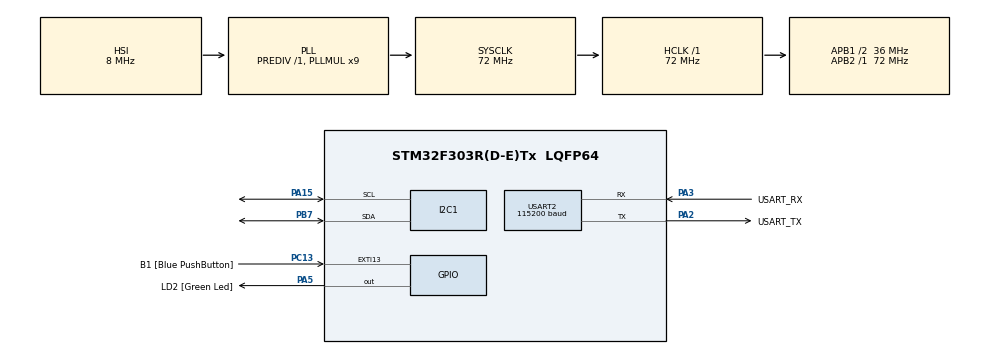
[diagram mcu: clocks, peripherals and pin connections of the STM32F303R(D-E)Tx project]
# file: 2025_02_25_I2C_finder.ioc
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I2C1.Timing=0x00201D2B
Mcu.Family=STM32F3
Mcu.Name=STM32F303R(D-E)Tx
Mcu.Package=LQFP64
NVIC.PriorityGroup=NVIC_PRIORITYGROUP_0
PA13.GPIO_Label=TMS
PA13.Mode=Serial_Wire
PA13.Signal=SYS_JTMS-SWDIO
PA14.GPIO_Label=TCK
PA14.Mode=Serial_Wire
PA14.Signal=SYS_JTCK-SWCLK
PA15.Mode=I2C
PA15.Signal=I2C1_SCL
PA2.GPIO_Label=USART_TX
PA2.GPIO_Mode=GPIO_MODE_AF_PP
PA2.GPIO_PuPd=GPIO_NOPULL
PA2.GPIO_Speed=GPIO_SPEED_FREQ_LOW
PA2.Mode=Asynchronous
PA2.Signal=USART2_TX
PA3.GPIO_Label=USART_RX
PA3.GPIO_Mode=GPIO_MODE_AF_PP
PA3.GPIO_PuPd=GPIO_NOPULL
PA3.GPIO_Speed=GPIO_SPEED_FREQ_LOW
PA3.Mode=Asynchronous
PA3.Signal=USART2_RX
PA5.GPIO_Label=LD2 [Green Led]
PA5.GPIO_Mode=GPIO_MODE_OUTPUT_PP
PA5.GPIO_PuPd=GPIO_NOPULL
PA5.GPIO_Speed=GPIO_SPEED_FREQ_LOW
PA5.Signal=GPIO_Output
PB3.GPIO_Label=SWO
PB3.Signal=SYS_JTDO-TRACESWO
PB7.Mode=I2C
PB7.Signal=I2C1_SDA
PC13.GPIO_Label=B1 [Blue PushButton]
PC13.GPIO_ModeDefaultEXTI=GPIO_MODE_IT_FALLING
PC13.GPIO_PuPd=GPIO_NOPULL
PC13.Signal=GPXTI13
PC14-OSC32_IN.Mode=LSE-External-Oscillator
PC14-OSC32_IN.Signal=RCC_OSC32_IN
PC15-OSC32_OUT.Mode=LSE-External-Oscillator
PC15-OSC32_OUT.Signal=RCC_OSC32_OUT
PF0-OSC_IN.Mode=HSE-External-Clock-Source
PF0-OSC_IN.Signal=RCC_OSC_IN
PF1-OSC_OUT.Signal=RCC_OSC_OUT
ProjectManager.HeapSize=0x200
ProjectManager.StackSize=0x400
ProjectManager.TargetToolchain=STM32CubeIDE
RCC.AHBFreq_Value=72000000
RCC.APB1CLKDivider=RCC_HCLK_DIV2
RCC.APB1Freq_Value=36000000
RCC.APB1TimFreq_Value=72000000
RCC.APB2Freq_Value=72000000
RCC.APB2TimFreq_Value=72000000
RCC.CortexFreq_Value=72000000
RCC.HCLKFreq_Value=72000000
RCC.HSE_VALUE=8000000
RCC.HSI_VALUE=8000000
RCC.PLLM=8
RCC.PLLMUL=RCC_PLL_MUL9
RCC.PLLN=336
RCC.PLLP=RCC_PLLP_DIV4
RCC.PLLQ=7
RCC.RCC_PLLsource_Clock_Source_FROM_HSE=RCC_HSE_PREDIV_DIV2
RCC.SYSCLKFreq_VALUE=72000000
RCC.SYSCLKSourceVirtual=RCC_SYSCLKSOURCE_PLLCLK
RCC.USBFreq_Value=72000000
USART2.BaudRate=115200
USART2.VirtualMode-Asynchronous=VM_ASYNC
board=NUCLEO-F303RE

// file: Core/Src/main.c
/* USER CODE BEGIN Header */
/**
  ******************************************************************************
  * @file           : main.c
  * @brief          : Main program body
  ******************************************************************************
  * @attention
  *
  * Copyright (c) 2025 STMicroelectronics.
  * All rights reserved.
  *
  * This software is licensed under terms that can be found in the LICENSE file
  * in the root directory of this software component.
  * If no LICENSE file comes with this software, it is provided AS-IS.
  *
  ******************************************************************************
  */
/* USER CODE END Header */
#include "main.h"

/* USER CODE BEGIN Includes */
#include <stdio.h>
/* USER CODE END Includes */

I2C_HandleTypeDef hi2c1;

UART_HandleTypeDef huart2;

/* USER CODE BEGIN PV */
uint8_t Buffer[50] = {0};
uint8_t Space[] = "- ";
uint8_t RunMSG[] = "Starting I2C Scanning: ";
uint8_t StartMSG[] = "To Start I2C Scanning Press Blue Button...!!! \r\n";
uint8_t EndMSG[] = "Done! \r\n\r\n\r\n";
uint8_t Data_line[] = "Data Line Connected to  :- PB7  \r\n";
uint8_t clk_line[] =  "Clock Line Connected to :- PA15 \r\n";
/* USER CODE END PV */

void SystemClock_Config(void);
static void MX_GPIO_Init(void);
static void MX_USART2_UART_Init(void);
static void MX_I2C1_Init(void);

int main(void)
{

  /* MCU Configuration--------------------------------------------------------*/

  /* Reset of all peripherals, Initializes the Flash interface and the Systick. */
  HAL_Init();

  /* USER CODE BEGIN Init */
  uint8_t i = 0, ret;
  /* USER CODE END Init */

  /* Configure the system clock */
  SystemClock_Config();

  /* Initialize all configured peripherals */
  MX_GPIO_Init();
  MX_USART2_UART_Init();
  MX_I2C1_Init();
  /* USER CODE BEGIN 2 */
  HAL_UART_Transmit(&huart2, Data_line, sizeof(Data_line), HAL_MAX_DELAY);
  HAL_UART_Transmit(&huart2, clk_line, sizeof(clk_line), HAL_MAX_DELAY);
  HAL_Delay(200);
  HAL_UART_Transmit(&huart2, StartMSG, sizeof(StartMSG), HAL_MAX_DELAY);
  /* USER CODE END 2 */

  /* Infinite loop */
  while (1)
  {

    /* USER CODE BEGIN 3 */
	  if(HAL_GPIO_ReadPin(B1_GPIO_Port, B1_Pin) == 1)
		  HAL_GPIO_WritePin(LD2_GPIO_Port, LD2_Pin, GPIO_PIN_RESET);

	  else{
		  HAL_GPIO_WritePin(LD2_GPIO_Port, LD2_Pin, GPIO_PIN_SET);
	  	  /*-[ I2C Bus Scanning ]-*/
	      HAL_UART_Transmit(&huart2, RunMSG, sizeof(RunMSG), HAL_MAX_DELAY);
	      for(i=1; i<255; i++)
	      {
	          ret = HAL_I2C_IsDeviceReady(&hi2c1, (uint16_t)(i<<1), 10, 50);
	          if (ret != HAL_OK) /* No ACK Received At That Address */
	          {
	              HAL_UART_Transmit(&huart2, Space, sizeof(Space), HAL_MAX_DELAY);
	          }
	          else if(ret == HAL_OK)
	          {
	              sprintf((char *)Buffer, "0x%X", i);
	              HAL_UART_Transmit(&huart2, Buffer, sizeof(Buffer), HAL_MAX_DELAY);
	          }
	      }
	      HAL_UART_Transmit(&huart2, EndMSG, sizeof(EndMSG), HAL_MAX_DELAY);
	      HAL_Delay(100);
	      HAL_UART_Transmit(&huart2, Data_line, sizeof(Data_line), HAL_MAX_DELAY);
	      HAL_UART_Transmit(&huart2, clk_line, sizeof(clk_line), HAL_MAX_DELAY);
	      HAL_Delay(200);
	      HAL_UART_Transmit(&huart2, StartMSG, sizeof(StartMSG), HAL_MAX_DELAY);
	      HAL_Delay(100);
	      /*--[ Scanning Done ]--*/
	  }
  }
  /* USER CODE END 3 */
}

void SystemClock_Config(void)
{
  RCC_OscInitTypeDef RCC_OscInitStruct = {0};
  RCC_ClkInitTypeDef RCC_ClkInitStruct = {0};
  RCC_PeriphCLKInitTypeDef PeriphClkInit = {0};

  /** Initializes the RCC Oscillators according to the specified parameters
  * in the RCC_OscInitTypeDef structure.
  */
  RCC_OscInitStruct.OscillatorType = RCC_OSCILLATORTYPE_HSI;
  RCC_OscInitStruct.HSIState = RCC_HSI_ON;
  RCC_OscInitStruct.HSICalibrationValue = RCC_HSICALIBRATION_DEFAULT;
  RCC_OscInitStruct.PLL.PLLState = RCC_PLL_ON;
  RCC_OscInitStruct.PLL.PLLSource = RCC_PLLSOURCE_HSI;
  RCC_OscInitStruct.PLL.PLLMUL = RCC_PLL_MUL9;
  RCC_OscInitStruct.PLL.PREDIV = RCC_PREDIV_DIV1;
  if (HAL_RCC_OscConfig(&RCC_OscInitStruct) != HAL_OK)
  {
    Error_Handler();
  }

  /** Initializes the CPU, AHB and APB buses clocks
  */
  RCC_ClkInitStruct.ClockType = RCC_CLOCKTYPE_HCLK|RCC_CLOCKTYPE_SYSCLK
                              |RCC_CLOCKTYPE_PCLK1|RCC_CLOCKTYPE_PCLK2;
  RCC_ClkInitStruct.SYSCLKSource = RCC_SYSCLKSOURCE_PLLCLK;
  RCC_ClkInitStruct.AHBCLKDivider = RCC_SYSCLK_DIV1;
  RCC_ClkInitStruct.APB1CLKDivider = RCC_HCLK_DIV2;
  RCC_ClkInitStruct.APB2CLKDivider = RCC_HCLK_DIV1;

  if (HAL_RCC_ClockConfig(&RCC_ClkInitStruct, FLASH_LATENCY_2) != HAL_OK)
  {
    Error_Handler();
  }
  PeriphClkInit.PeriphClockSelection = RCC_PERIPHCLK_USART2|RCC_PERIPHCLK_I2C1;
  PeriphClkInit.Usart2ClockSelection = RCC_USART2CLKSOURCE_PCLK1;
  PeriphClkInit.I2c1ClockSelection = RCC_I2C1CLKSOURCE_HSI;
  if (HAL_RCCEx_PeriphCLKConfig(&PeriphClkInit) != HAL_OK)
  {
    Error_Handler();
  }
}

static void MX_I2C1_Init(void)
{

  hi2c1.Instance = I2C1;
  hi2c1.Init.Timing = 0x00201D2B;
  hi2c1.Init.OwnAddress1 = 0;
  hi2c1.Init.AddressingMode = I2C_ADDRESSINGMODE_7BIT;
  hi2c1.Init.DualAddressMode = I2C_DUALADDRESS_DISABLE;
  hi2c1.Init.OwnAddress2 = 0;
  hi2c1.Init.OwnAddress2Masks = I2C_OA2_NOMASK;
  hi2c1.Init.GeneralCallMode = I2C_GENERALCALL_DISABLE;
  hi2c1.Init.NoStretchMode = I2C_NOSTRETCH_DISABLE;
  if (HAL_I2C_Init(&hi2c1) != HAL_OK)
  {
    Error_Handler();
  }

  /** Configure Analogue filter
  */
  if (HAL_I2CEx_ConfigAnalogFilter(&hi2c1, I2C_ANALOGFILTER_ENABLE) != HAL_OK)
  {
    Error_Handler();
  }

  /** Configure Digital filter
  */
  if (HAL_I2CEx_ConfigDigitalFilter(&hi2c1, 0) != HAL_OK)
  {
    Error_Handler();
  }

}

static void MX_USART2_UART_Init(void)
{

  huart2.Instance = USART2;
  huart2.Init.BaudRate = 115200;
  huart2.Init.WordLength = UART_WORDLENGTH_8B;
  huart2.Init.StopBits = UART_STOPBITS_1;
  huart2.Init.Parity = UART_PARITY_NONE;
  huart2.Init.Mode = UART_MODE_TX_RX;
  huart2.Init.HwFlowCtl = UART_HWCONTROL_NONE;
  huart2.Init.OverSampling = UART_OVERSAMPLING_16;
  huart2.Init.OneBitSampling = UART_ONE_BIT_SAMPLE_DISABLE;
  huart2.AdvancedInit.AdvFeatureInit = UART_ADVFEATURE_NO_INIT;
  if (HAL_UART_Init(&huart2) != HAL_OK)
  {
    Error_Handler();
  }

}

static void MX_GPIO_Init(void)
{
  GPIO_InitTypeDef GPIO_InitStruct = {0};

  /* GPIO Ports Clock Enable */
  __HAL_RCC_GPIOC_CLK_ENABLE();
  __HAL_RCC_GPIOF_CLK_ENABLE();
  __HAL_RCC_GPIOA_CLK_ENABLE();
  __HAL_RCC_GPIOB_CLK_ENABLE();

  /*Configure GPIO pin Output Level */
  HAL_GPIO_WritePin(LD2_GPIO_Port, LD2_Pin, GPIO_PIN_RESET);

  /*Configure GPIO pin : B1_Pin */
  GPIO_InitStruct.Pin = B1_Pin;
  GPIO_InitStruct.Mode = GPIO_MODE_IT_FALLING;
  GPIO_InitStruct.Pull = GPIO_NOPULL;
  HAL_GPIO_Init(B1_GPIO_Port, &GPIO_InitStruct);

  /*Configure GPIO pin : LD2_Pin */
  GPIO_InitStruct.Pin = LD2_Pin;
  GPIO_InitStruct.Mode = GPIO_MODE_OUTPUT_PP;
  GPIO_InitStruct.Pull = GPIO_NOPULL;
  GPIO_InitStruct.Speed = GPIO_SPEED_FREQ_LOW;
  HAL_GPIO_Init(LD2_GPIO_Port, &GPIO_InitStruct);

}

void Error_Handler(void)
{
  __disable_irq();
  while (1)
  {
  }
}
